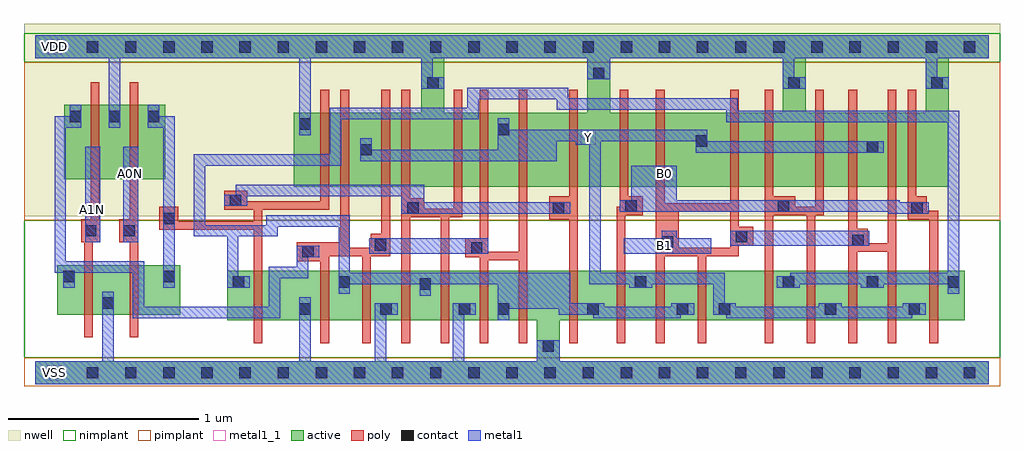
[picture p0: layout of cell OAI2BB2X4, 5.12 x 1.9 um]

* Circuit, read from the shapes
.subckt OAI2BB2X4 A0N A1N B0 B1 VDD VSS Y
M1 VSS A1N n1 VSS nfet w=0.26u l=0.045u
M2 n2 A0N VSS VSS nfet w=0.26u l=0.045u
M3 VSS n2 n3 VSS nfet w=0.26u l=0.045u m=4
M4 n3 n1 VSS VSS nfet w=0.26u l=0.045u m=4
M5 Y B0 n3 VSS nfet w=0.26u l=0.045u m=4
M6 n3 B1 Y VSS nfet w=0.26u l=0.045u m=4
M7 VDD A1N n1 VDD pfet w=0.39u l=0.045u
M8 n2 A0N VDD VDD pfet w=0.39u l=0.045u
M9 n4 n2 VDD VDD pfet w=0.39u l=0.045u
M10 Y n1 n4 VDD pfet w=0.39u l=0.045u
M11 n5 n1 Y VDD pfet w=0.39u l=0.045u
M12 VDD n2 n5 VDD pfet w=0.39u l=0.045u
M13 n6 n2 VDD VDD pfet w=0.39u l=0.045u
M14 Y n1 n6 VDD pfet w=0.39u l=0.045u
M15 n7 n1 Y VDD pfet w=0.39u l=0.045u
M16 VDD n2 n7 VDD pfet w=0.39u l=0.045u
M17 n8 B0 VDD VDD pfet w=0.39u l=0.045u
M18 Y B1 n8 VDD pfet w=0.39u l=0.045u
M19 n9 B1 Y VDD pfet w=0.39u l=0.045u
M20 VDD B0 n9 VDD pfet w=0.39u l=0.045u
M21 n10 B0 VDD VDD pfet w=0.39u l=0.045u
M22 Y B1 n10 VDD pfet w=0.39u l=0.045u
M23 n11 B1 Y VDD pfet w=0.39u l=0.045u
M24 VDD B0 n11 VDD pfet w=0.39u l=0.045u
.ends

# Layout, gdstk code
import gdstk
lib = gdstk.Library(unit=1e-6, precision=5e-10)
def R(c, l, rs):  # rectangles x0, y0, x1, y1
    for r in rs: c.add(gdstk.rectangle(r[:2], r[2:], *l))
def A(c, l, x, y, w, h, nx, ny, dx, dy):  # array of equal rectangles
    R(c, l, [(x+i*dx, y+j*dy, x+i*dx+w, y+j*dy+h) for i in range(nx) for j in range(ny)])
def P(c, l, *ps):  # polygons
    for p in ps: c.add(gdstk.Polygon(p, *l))
active = (1, 0)
nwell = (2, 0)
poly = (3, 0)
nimplant = (4, 0)
pimplant = (5, 0)
contact = (6, 0)
metal1 = (7, 0)
metal1_1 = (7, 1)

oai2bb2x4 = lib.new_cell('OAI2BB2X4')
R(oai2bb2x4, active, [(0.115,0.305,0.76,0.565), (0.15,1.015,0.68,1.405)])
P(oai2bb2x4, active, [(0,1.77),(5,1.77),(5,1.65),(4.79,1.65),(4.79,0.975),(1.355,0.975),(1.355,1.365),(2.025,1.365),(2.025,1.65),(2.145,1.65),(2.145,1.365),(2.895,1.365),(2.895,1.65),(3.015,1.65),(3.015,1.365),(3.92,1.365),(3.92,1.65),(4.04,1.65),(4.04,1.365),(4.67,1.365),(4.67,1.65),(0,1.65)],
  [(1.005,0.535),(4.875,0.535),(4.875,0.275),(2.75,0.275),(2.75,0.06),(5,0.06),(5,-0.06),(0,-0.06),(0,0.06),(2.63,0.06),(2.63,0.275),(1.005,0.275)])
R(oai2bb2x4, nwell, [(-0.06,0.82,5.06,1.83)])
P(oai2bb2x4, poly, [(0.29,1.525),(0.335,1.525),(0.335,0.805),(0.34,0.805),(0.34,0.685),(0.3,0.685),(0.3,0.185),(0.255,0.185),(0.255,0.685),(0.24,0.685),(0.24,0.805),(0.29,0.805)],
  [(0.495,1.525),(0.54,1.525),(0.54,0.185),(0.495,0.185),(0.495,0.685),(0.44,0.685),(0.44,0.805),(0.495,0.805)],
  [(0.99,0.955),(1.11,0.955),(1.11,0.9),(1.495,0.9),(1.495,1.485),(1.54,1.485),(1.54,0.855),(1.19,0.855),(1.19,0.155),(1.145,0.155),(1.145,0.75),(0.65,0.75),(0.65,0.87),(0.75,0.87),(0.75,0.795),(1.145,0.795),(1.145,0.855),(0.99,0.855)],
  [(1.6,1.485),(1.645,1.485),(1.645,0.655),(1.76,0.655),(1.76,0.73),(1.815,0.73),(1.815,1.485),(1.86,1.485),(1.86,0.61),(1.76,0.61),(1.76,0.155),(1.715,0.155),(1.715,0.61),(1.54,0.61),(1.54,0.155),(1.495,0.155),(1.495,0.585),(1.37,0.585),(1.37,0.685),(1.6,0.685)],
  [(1.92,1.485),(1.965,1.485),(1.965,0.915),(2.04,0.915),(2.04,0.86),(2.195,0.86),(2.195,1.485),(2.24,1.485),(2.24,0.815),(2.17,0.815),(2.17,0.155),(2.125,0.155),(2.125,0.815),(1.965,0.815),(1.965,0.155),(1.92,0.155)],
  [(2.33,1.485),(2.375,1.485),(2.375,0.635),(2.535,0.635),(2.535,1.485),(2.58,1.485),(2.58,0.155),(2.535,0.155),(2.535,0.59),(2.375,0.59),(2.375,0.155),(2.33,0.155),(2.33,0.605),(2.255,0.605),(2.255,0.705),(2.33,0.705)],
  [(2.8,1.485),(2.845,1.485),(2.845,0.155),(2.8,0.155),(2.8,0.805),(2.695,0.805),(2.695,0.925),(2.8,0.925)],
  [(3.065,1.485),(3.11,1.485),(3.11,0.925),(3.185,0.925),(3.185,0.825),(3.095,0.825),(3.095,0.155),(3.05,0.155),(3.05,0.87),(3.065,0.87)],
  [(3.255,1.485),(3.3,1.485),(3.3,0.89),(3.645,0.89),(3.645,1.485),(3.69,1.485),(3.69,0.765),(3.765,0.765),(3.765,0.665),(3.69,0.665),(3.69,0.61),(3.52,0.61),(3.52,0.155),(3.475,0.155),(3.475,0.61),(3.3,0.61),(3.3,0.155),(3.255,0.155),(3.255,0.845),(3.375,0.845),(3.375,0.655),(3.645,0.655),(3.645,0.845),(3.255,0.845)],
  [(3.825,1.485),(3.87,1.485),(3.87,0.925),(3.985,0.925),(3.985,0.87),(4.09,0.87),(4.09,1.485),(4.135,1.485),(4.135,0.825),(4.09,0.825),(4.09,0.155),(4.045,0.155),(4.045,0.825),(3.87,0.825),(3.87,0.155),(3.825,0.155)],
  [(4.265,1.485),(4.31,1.485),(4.31,0.755),(4.365,0.755),(4.365,0.68),(4.47,0.68),(4.47,1.485),(4.515,1.485),(4.515,0.155),(4.47,0.155),(4.47,0.635),(4.31,0.635),(4.31,0.155),(4.265,0.155)],
  [(4.575,1.485),(4.62,1.485),(4.62,0.925),(4.675,0.925),(4.675,0.85),(4.735,0.85),(4.735,0.155),(4.69,0.155),(4.69,0.805),(4.575,0.805)])
R(oai2bb2x4, nimplant, [(-0.06,0.08,5.06,0.8), (-0.06,1.63,5.06,1.78)])
R(oai2bb2x4, pimplant, [(-0.06,-0.07,5.06,0.08), (-0.06,0.8,5.06,1.63)])
A(oai2bb2x4, contact, 0.07, -0.03, 0.06, 0.06, 25, 2, 0.2, 1.71)
A(oai2bb2x4, contact, 2.425, 0.305, 0.06, 0.06, 3, 1, 0.47, 0)
A(oai2bb2x4, contact, 0.18, 1.315, 0.06, 0.06, 3, 1, 0.205, 0)
R(oai2bb2x4, contact, [(2.66,0.11,2.72,0.17), (1.385,0.305,1.445,0.365), (1.81,0.305,1.87,0.365), (2.22,0.305,2.28,0.365), (3.585,0.305,3.645,0.365), (4.14,0.305,4.2,0.365), (4.58,0.305,4.64,0.365), (0.35,0.335,0.41,0.395), (2.015,0.435,2.075,0.495), (1.035,0.445,1.095,0.505), (1.59,0.445,1.65,0.505), (3.145,0.445,3.205,0.505), (3.92,0.445,3.98,0.505), (4.36,0.445,4.42,0.505), (4.785,0.445,4.845,0.505), (0.145,0.475,0.205,0.535), (0.67,0.475,0.73,0.535), (1.4,0.605,1.46,0.665), (2.285,0.625,2.345,0.685), (1.78,0.64,1.84,0.7), (3.285,0.655,3.345,0.715), (4.285,0.665,4.345,0.725), (3.675,0.685,3.735,0.745), (0.26,0.715,0.32,0.775), (0.46,0.715,0.52,0.775), (0.67,0.78,0.73,0.84), (1.95,0.835,2.01,0.895), (2.715,0.835,2.775,0.895), (4.595,0.835,4.655,0.895), (3.095,0.845,3.155,0.905), (3.895,0.845,3.955,0.905), (1.02,0.875,1.08,0.935), (1.705,1.14,1.765,1.2), (4.36,1.155,4.42,1.215), (3.465,1.185,3.525,1.245), (2.425,1.245,2.485,1.305), (1.385,1.275,1.445,1.335), (2.055,1.49,2.115,1.55), (3.95,1.49,4.01,1.55), (4.7,1.49,4.76,1.55), (2.925,1.54,2.985,1.6)])
R(oai2bb2x4, metal1, [(1.75,0.625,2.375,0.705), (3.645,0.665,4.375,0.745), (0.26,0.685,0.34,1.185), (0.46,0.685,0.54,1.185)])
P(oai2bb2x4, metal1, [(0,1.77),(5,1.77),(5,1.65),(4.73,1.65),(4.73,1.55),(4.79,1.55),(4.79,1.49),(4.67,1.49),(4.67,1.65),(3.98,1.65),(3.98,1.55),(4.04,1.55),(4.04,1.49),(3.92,1.49),(3.92,1.65),(3.015,1.65),(3.015,1.54),(2.895,1.54),(2.895,1.65),(2.085,1.65),(2.085,1.55),(2.145,1.55),(2.145,1.49),(2.025,1.49),(2.025,1.65),(1.445,1.65),(1.445,1.245),(1.385,1.245),(1.385,1.65),(0.445,1.65),(0.445,1.285),(0.385,1.285),(0.385,1.65),(0,1.65)],
  [(0.18,1.405),(0.24,1.405),(0.24,1.285),(0.16,1.285),(0.16,0.585),(0.57,0.585),(0.57,0.345),(1.225,0.345),(1.225,0.555),(1.37,0.555),(1.37,0.665),(1.49,0.665),(1.49,0.605),(1.43,0.605),(1.43,0.495),(1.285,0.495),(1.285,0.285),(0.51,0.285),(0.51,0.525),(0.205,0.525),(0.205,0.445),(0.145,0.445),(0.145,0.525),(0.1,0.525),(0.1,1.345),(0.18,1.345)],
  [(0.59,1.405),(0.65,1.405),(0.65,1.345),(0.73,1.345),(0.73,0.445),(0.67,0.445),(0.67,1.285),(0.59,1.285)],
  [(2.265,1.495),(2.795,1.495),(2.795,1.44),(3.685,1.44),(3.685,1.375),(4.845,1.375),(4.845,0.415),(4.785,0.415),(4.785,0.465),(4.45,0.465),(4.45,0.445),(4.33,0.445),(4.33,0.465),(4.01,0.465),(4.01,0.445),(3.89,0.445),(3.89,0.505),(3.96,0.505),(3.96,0.525),(4.785,0.525),(4.785,1.315),(3.625,1.315),(3.625,1.38),(2.735,1.38),(2.735,1.435),(2.325,1.435),(2.325,1.33),(1.605,1.33),(1.605,1.085),(0.89,1.085),(0.89,0.775),(1.21,0.775),(1.21,0.825),(1.65,0.825),(1.65,0.525),(2.805,0.525),(2.805,0.365),(2.985,0.365),(2.985,0.345),(3.335,0.345),(3.335,0.365),(3.455,0.365),(3.455,0.305),(3.385,0.305),(3.385,0.285),(2.925,0.285),(2.925,0.305),(2.745,0.305),(2.745,0.335),(2.485,0.335),(2.485,0.275),(2.425,0.275),(2.425,0.465),(2.075,0.465),(2.075,0.405),(2.015,0.405),(2.015,0.465),(1.65,0.465),(1.65,0.415),(1.59,0.415),(1.59,0.765),(1.27,0.765),(1.27,0.715),(1.065,0.715),(1.065,0.505),(1.125,0.505),(1.125,0.445),(1.005,0.445),(1.005,0.715),(0.83,0.715),(0.83,1.145),(1.545,1.145),(1.545,1.39),(2.265,1.39)],
  [(2.425,1.335),(2.485,1.335),(2.485,1.275),(3.525,1.275),(3.525,1.215),(4.45,1.215),(4.45,1.155),(3.465,1.155),(3.465,1.215),(2.965,1.215),(2.965,0.525),(3.615,0.525),(3.615,0.365),(3.675,0.365),(3.675,0.345),(4.11,0.345),(4.11,0.365),(4.23,0.365),(4.23,0.345),(4.55,0.345),(4.55,0.365),(4.67,0.365),(4.67,0.305),(4.6,0.305),(4.6,0.285),(3.625,0.285),(3.625,0.305),(3.555,0.305),(3.555,0.465),(3.235,0.465),(3.235,0.445),(3.115,0.445),(3.115,0.465),(2.905,0.465),(2.905,1.195),(2.835,1.195),(2.835,1.215),(2.735,1.215),(2.735,1.11),(1.705,1.11),(1.705,1.23),(1.765,1.23),(1.765,1.17),(2.425,1.17)],
  [(1.05,0.985),(2.04,0.985),(2.04,0.895),(2.805,0.895),(2.805,0.835),(1.92,0.835),(1.92,0.925),(1.11,0.925),(1.11,0.875),(0.99,0.875),(0.99,0.935),(1.05,0.935)],
  [(3.125,1.085),(3.365,1.085),(3.365,0.905),(4.535,0.905),(4.535,0.895),(4.685,0.895),(4.685,0.835),(4.475,0.835),(4.475,0.845),(3.065,0.845),(3.065,0.905),(3.125,0.905)],
  [(0.35,0.425),(0.41,0.425),(0.41,0.06),(1.385,0.06),(1.385,0.395),(1.445,0.395),(1.445,0.06),(1.78,0.06),(1.78,0.365),(1.9,0.365),(1.9,0.305),(1.84,0.305),(1.84,0.06),(2.19,0.06),(2.19,0.365),(2.31,0.365),(2.31,0.305),(2.25,0.305),(2.25,0.06),(2.63,0.06),(2.63,0.17),(2.75,0.17),(2.75,0.06),(5,0.06),(5,-0.06),(0,-0.06),(0,0.06),(0.35,0.06)],
  [(3.285,0.745),(3.365,0.745),(3.365,0.705),(3.545,0.705),(3.545,0.625),(3.085,0.625),(3.085,0.705),(3.285,0.705)])
R(oai2bb2x4, metal1_1, [(0.06,-0.04,0.14,0.04), (3.26,0.625,3.34,0.705), (0.26,0.815,0.34,0.895), (0.46,1.005,0.54,1.085), (3.26,1.005,3.34,1.085), (2.86,1.195,2.94,1.275), (0.06,1.67,0.14,1.75)])
oai2bb2x4.add(gdstk.Label('Y', (2.9,1.235), layer=7, texttype=1))
oai2bb2x4.add(gdstk.Label('B1', (3.3,0.665), layer=7, texttype=1))
oai2bb2x4.add(gdstk.Label('B0', (3.3,1.045), layer=7, texttype=1))
oai2bb2x4.add(gdstk.Label('A0N', (0.5,1.045), layer=7, texttype=1))
oai2bb2x4.add(gdstk.Label('A1N', (0.3,0.855), layer=7, texttype=1))
oai2bb2x4.add(gdstk.Label('VDD', (0.1,1.71), layer=7, texttype=1))
oai2bb2x4.add(gdstk.Label('VSS', (0.1,0), layer=7, texttype=1))
oai2bb2x4.add(gdstk.Label('OAI2BB2X4', (0,0), layer=63, texttype=0))

lib.write_gds('OAI2BB2X4.gds')
